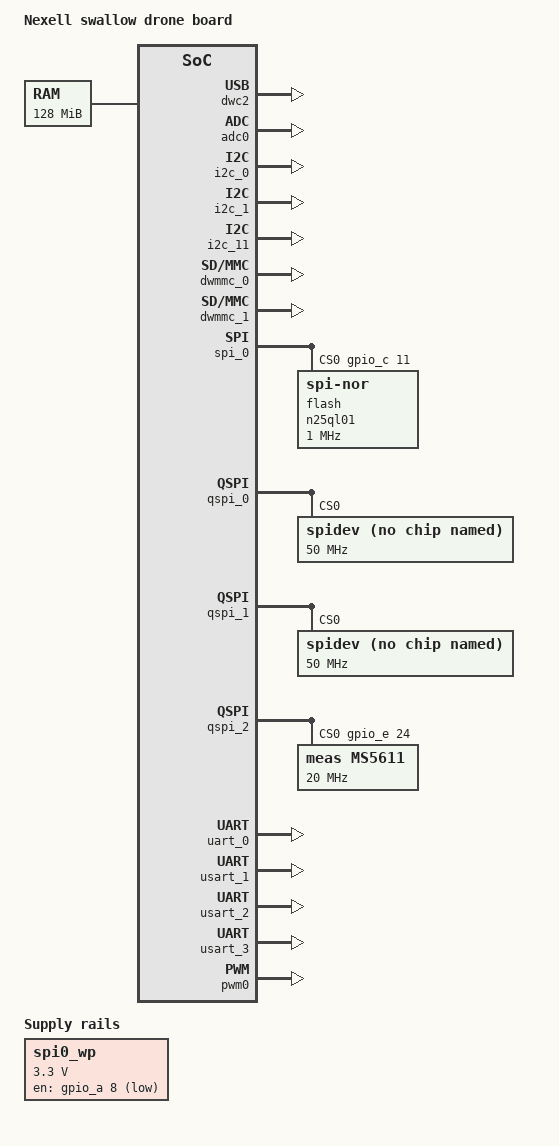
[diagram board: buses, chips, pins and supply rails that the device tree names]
/dts-v1/;
#include <dt-bindings/gpio/gpio.h>
#include "swallow.dtsi"

/ {
	model ="Nexell swallow drone board";
	compatible = "nexell,swallow-drone", "nexell,swallow";

	chosen {
		// swiotlb = 16MB(early_params:8192)
		bootargs = "console=ttyS0,115200 swiotlb=8192 root=/dev/mmcblk0p2 rootwait";
		stdout-path = "serial0@20880000";
	};

	memory: memory@80000000 {
		device_type = "memory";
		reg = <0x80000000 0x08000000>;
	};

	soc {
		nexell_usbphy: nexell-usbphy@20040000 {
			status = "okay";
		};

		dwc2: dwc2otg@20d00000 {
			status = "okay";
		};

		vip_0: vip@20400000 {
			status = "okay";
		};

		clipper_0: clipper0@20400000 {
			/* gpio_f 0 - reset, gpio_d 29 - stand by */
			gpios = <&gpio_f 0 GPIO_ACTIVE_LOW &gpio_d 29 GPIO_ACTIVE_HIGH>;
			logical = <0>;
			interface_type = <NX_CAPTURE_INTERFACE_PARALLEL>;
			data_order = < NX_VIN_CBY0CRY1>;
			interlace = <0>;
			external_sync = <0>;
			status = "okay";

			sensor {
				type = <NX_CAPTURE_SENSOR_I2C>;
				i2c_name = "MT9D111";
				i2c_adapter = <0>;
				/* write:0x90 read:0x91 */
				addr = <0x48>;
			};
			power {
				enable_seq = <
				NX_ACTION_START NX_ACTION_TYPE_GPIO 0 0 1 1 1 NX_ACTION_END
				>;
			};
			clock {
				pwms = <&pwm0 3 25000000 0>;
				pwm-names = "pwm-clipper_0-sensor";
			};
		};

		scaler: scaler@20410000 {
			status = "okay";
		};

		nx-v4l2 {
			status = "okay";
		};

		adc0: adc0@206c0000 {
                        status = "okay";
                };

		i2c_0: i2c0@20600000 {
			status = "okay";
		};

		i2c_1: i2c1@20610000 {
			status = "okay";
		};

		i2c_11: i2c11@206b0000 {
			status = "okay";
		};

		dwmmc_0: dwmmc@20930000 {
			status = "okay";
		};

		dwmmc_1: dwmmc@20940000 {
			status = "okay";
		};

		spi_0: spi@20800000 {
			cs-gpios = <&gpio_c 11 0>;
			status = "okay";
			flash: n25ql01@0 {
				#address-cells = <1>;
				#size-cells = <1>;
				compatible = "spi-nor";
				reg = <0>;
				spi-max-frequency = <1000000>;
				m25p,fast-read;
			};
		};

		qspi_0: qspi@20830000 {
			status = "okay";
			spidev@0 {
				compatible = "linux,spidev";
				reg = <0x0>;
				spi-max-frequency = <50000000>;
			};
		};

		qspi_1: qspi@20840000 {
			status = "okay";
			spidev@0 {
				compatible = "linux,spidev";
				reg = <0x0>;
				spi-max-frequency = <50000000>;
			};
		};

		qspi_2: qspi@20850000 {
			cs-gpios = <&gpio_e 24 0>;
			status = "okay";
			ms5611@0 {
				compatible = "meas,ms5611";
				reg = <0x0>;
				spi-max-frequency = <20000000>;
			};
		};

		uart_0:uart0@20880000 {
			status = "okay";
		};

		usart_1:usart1@208b0000 {
			status = "okay";
		};

		usart_2:usart2@208c0000 {
			status = "okay";
		};

		usart_3:usart3@208d0000 {
			status = "okay";
		};

		pwm0: pwm0@208e0000 {
			status = "okay";
		};

                watchdog@206d0000 {
                        status = "okay";
                };
        };

	spi0_wp: regulator-fix@0 {
		compatible = "regulator-fixed";

		regulator-name = "SPI0 Wp";
		regulator-min-microvolt = <3300000>;
		regulator-max-microvolt = <3300000>;

		gpio = <&gpio_a 8 GPIO_ACTIVE_LOW>;
		enable-active-low;
	};
};
